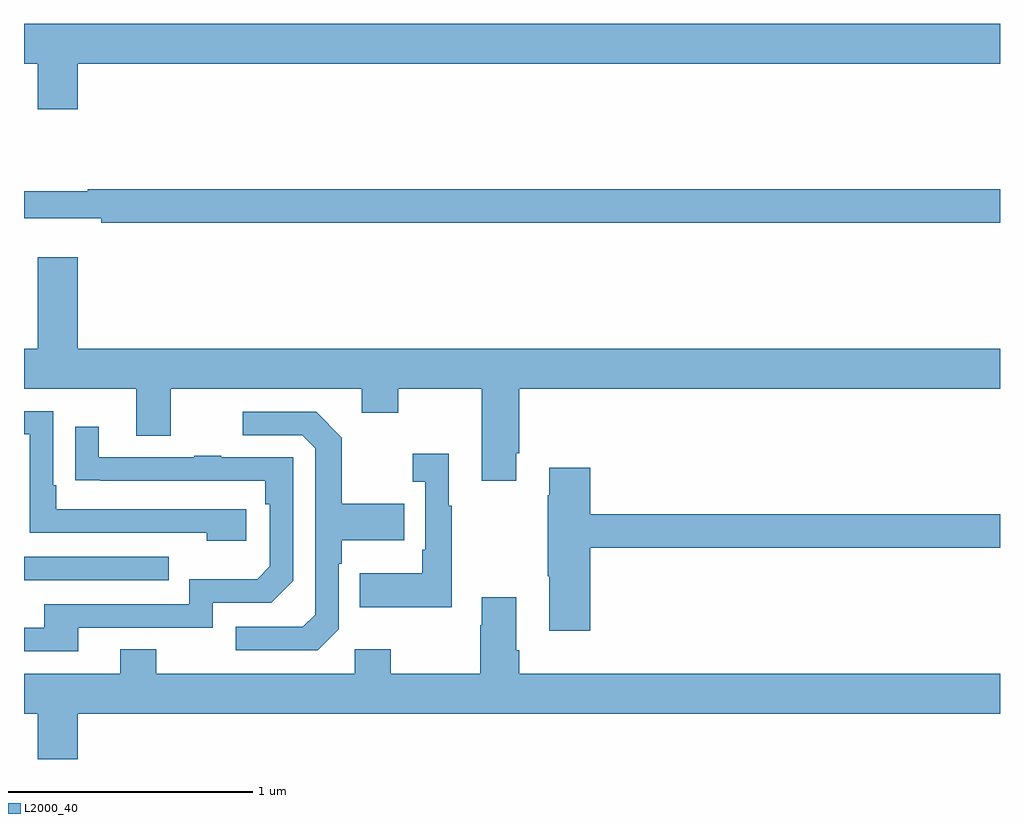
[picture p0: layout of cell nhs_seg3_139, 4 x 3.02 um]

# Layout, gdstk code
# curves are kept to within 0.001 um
import gdstk
lib = gdstk.Library(unit=1e-6, precision=1e-09)
def R(c, l, rs):  # rectangles x0, y0, x1, y1
    for r in rs: c.add(gdstk.rectangle(r[:2], r[2:], *l))
def P(c, l, *ps):  # polygons
    for p in ps: c.add(gdstk.Polygon(p, *l))
L2000_40 = (2000, 40)

nhs_seg3_139 = lib.new_cell('nhs_seg3_139')
R(nhs_seg3_139, L2000_40, [(117,705.459,117.593,705.555)])
P(nhs_seg3_139, L2000_40, [(117.22,707.576),(121,707.576),(121,707.74),(117,707.74),(117,707.576),(117.056,707.576),(117.056,707.388),(117.22,707.388)],
  [(121,707.06),(117.262,707.06),(117.262,707.053),(117,707.053),(117,706.943),(117.316,706.943),(117.316,706.924),(121,706.924)],
  [(119.017,705.979),(119.03,705.979),(119.03,706.244),(121,706.244),(121,706.408),(117.22,706.408),(117.22,706.783),(117.056,706.783),(117.056,706.408),(117,706.408),(117,706.244),(117.461,706.244),(117.461,706.05),(117.601,706.05),(117.601,706.244),(118.385,706.244),(118.385,706.145),(118.533,706.145),(118.533,706.244),(118.877,706.244),(118.877,705.867),(119.017,705.867)],
  [(117.91,705.75),(117.133,705.75),(117.133,705.847),(117.12,705.847),(117.12,706.152),(117,706.152),(117,706.056),(117.024,706.056),(117.024,705.654),(117.749,705.654),(117.749,705.62),(117.91,705.62)],
  [(118.29,705.258),(118.29,705.527),(118.303,705.527),(118.303,705.623),(118.559,705.623),(118.559,705.771),(118.303,705.771),(118.303,706.043),(118.197,706.149),(117.897,706.149),(117.897,706.053),(118.14,706.053),(118.194,705.999),(118.194,705.318),(118.143,705.267),(117.867,705.267),(117.867,705.171),(118.203,705.171)],
  [(117.223,705.264),(117.774,705.264),(117.774,705.366),(118.014,705.366),(118.104,705.456),(118.104,705.963),(117.809,705.963),(117.809,705.968),(117.697,705.968),(117.697,705.963),(117.307,705.963),(117.307,706.087),(117.211,706.087),(117.211,705.868),(117.988,705.867),(117.988,705.77),(118.008,705.77),(118.008,705.516),(117.955,705.463),(117.678,705.463),(117.678,705.36),(117.083,705.36),(117.083,705.264),(117,705.264),(117,705.168),(117.223,705.168)],
  [(118.753,705.763),(118.741,705.763),(118.741,705.976),(118.593,705.976),(118.593,705.863),(118.644,705.863),(118.644,705.583),(118.632,705.583),(118.632,705.487),(118.375,705.487),(118.375,705.347),(118.753,705.347)],
  [(119.321,705.592),(121,705.592),(121,705.728),(119.321,705.728),(119.321,705.919),(119.153,705.919),(119.153,705.806),(119.146,705.806),(119.146,705.475),(119.153,705.475),(119.153,705.252),(119.321,705.252)],
  [(117.22,704.912),(121,704.912),(121,705.076),(119.03,705.076),(119.03,705.172),(119.017,705.172),(119.017,705.388),(118.877,705.388),(118.877,705.275),(118.87,705.275),(118.87,705.076),(118.503,705.076),(118.503,705.175),(118.356,705.175),(118.356,705.076),(117.543,705.076),(117.543,705.175),(117.395,705.175),(117.395,705.076),(117,705.076),(117,704.912),(117.056,704.912),(117.056,704.724),(117.22,704.724)])

lib.write_gds('nhs_seg3_139.gds')
